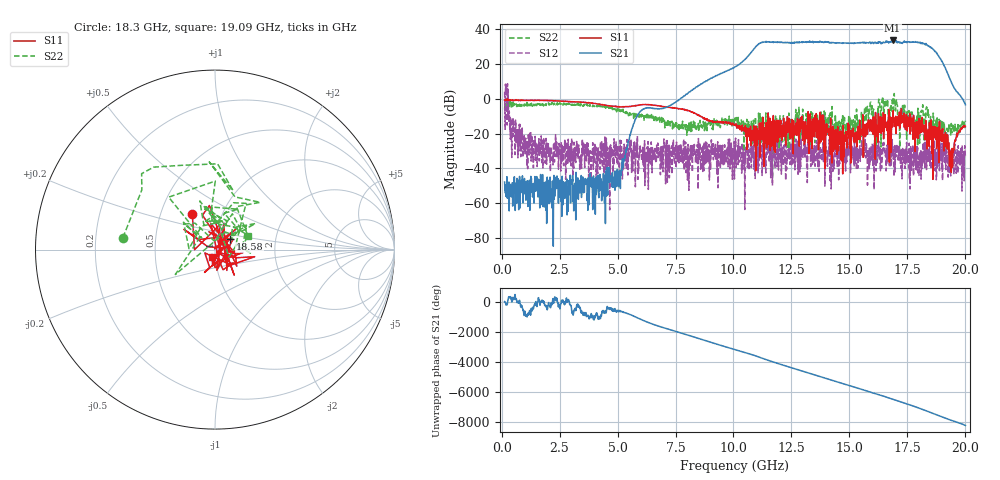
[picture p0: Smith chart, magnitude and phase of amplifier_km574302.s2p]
!Created with skrf (http://scikit-rf.org).
# GHz S RI R 50.0
!freq ReS11 ImS11 ReS21 ImS21 ReS12 ImS12 ReS22 ImS22
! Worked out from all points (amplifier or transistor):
!   1601 points, 130 MHz to 20 GHz, reference 50 ohm
!   highest |S21| = 33.6 dB at 16.86 GHz (marker M1)
!   |S21| within 3 dB of that: 11.01 GHz to 18.37 GHz (7.365 GHz wide, 50.1 % of centre)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
!   unconditionally stable (mu >= 1): 252 MHz to 10.09 GHz; 10.09 GHz to 10.57 GHz; 18.82 GHz to end of sweep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
!   at 3.433 GHz: K = 628.08, MAG = -36.9 dB, |S12| = -32.2 dB
!   at 10.06 GHz: K = 4.15, MAG = 18.8 dB, |S12| = -37.4 dB
!   at 20 GHz: K = 28.94, MAG = -3.0 dB, |S12| = -32.6 dB
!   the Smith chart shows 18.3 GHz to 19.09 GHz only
!   S11 on the Smith chart (normalised r, x): 18.3 GHz: 0.72, +0.31; 18.58 GHz: 1.17, +0.14; 19.09 GHz: 0.96, -0.07
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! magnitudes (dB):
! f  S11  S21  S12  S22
! 130 MHz  -0.9  -47.8  4.1  -6.2
! 403.2 MHz  -0.8  -56.2  -11.8  -3.6
! 1.024 GHz  -0.8  -54.3  -31.6  -3.2
! 3.446 GHz  -1.9  -56.7  -40.0  -3.6
! 4.886 GHz  -4.3  -52.3  -32.2  -6.1
! 5.855 GHz  -3.8  -9.5  -21.4  -9.5
! 6.762 GHz  -3.9  -5.7  -28.1  -11.5
! 10.06 GHz  -15.0  18.4  -37.4  -12.9
! 11.21 GHz  -23.5  32.5  -26.2  -18.8
! 13.38 GHz  -18.7  32.8  -31.5  -26.5
! 14.73 GHz  -15.2  32.1  -30.1  -15.3
! 15.91 GHz  -11.9  31.9  -32.6  -1.9
! 16.11 GHz  -34.7  32.6  -24.0  -15.8
! 16.49 GHz  -12.4  32.3  -25.1  -9.1
! 16.7 GHz  -6.1  32.1  -28.0  -5.9
! 16.86 GHz  -16.2  33.6  -32.6  -1.4
! 17.84 GHz  -13.7  32.9  -27.2  -17.3
! 18.3 GHz  -12.5  31.9  -25.9  -5.7
! 18.58 GHz  -19.9  28.8  -28.8  -13.1
! 19.09 GHz  -27.3  18.7  -29.7  -14.1
! 19.4 GHz  -36.8  9.3  -29.6  -17.6
! 20 GHz  -16.0  -3.3  -32.6  -12.6
